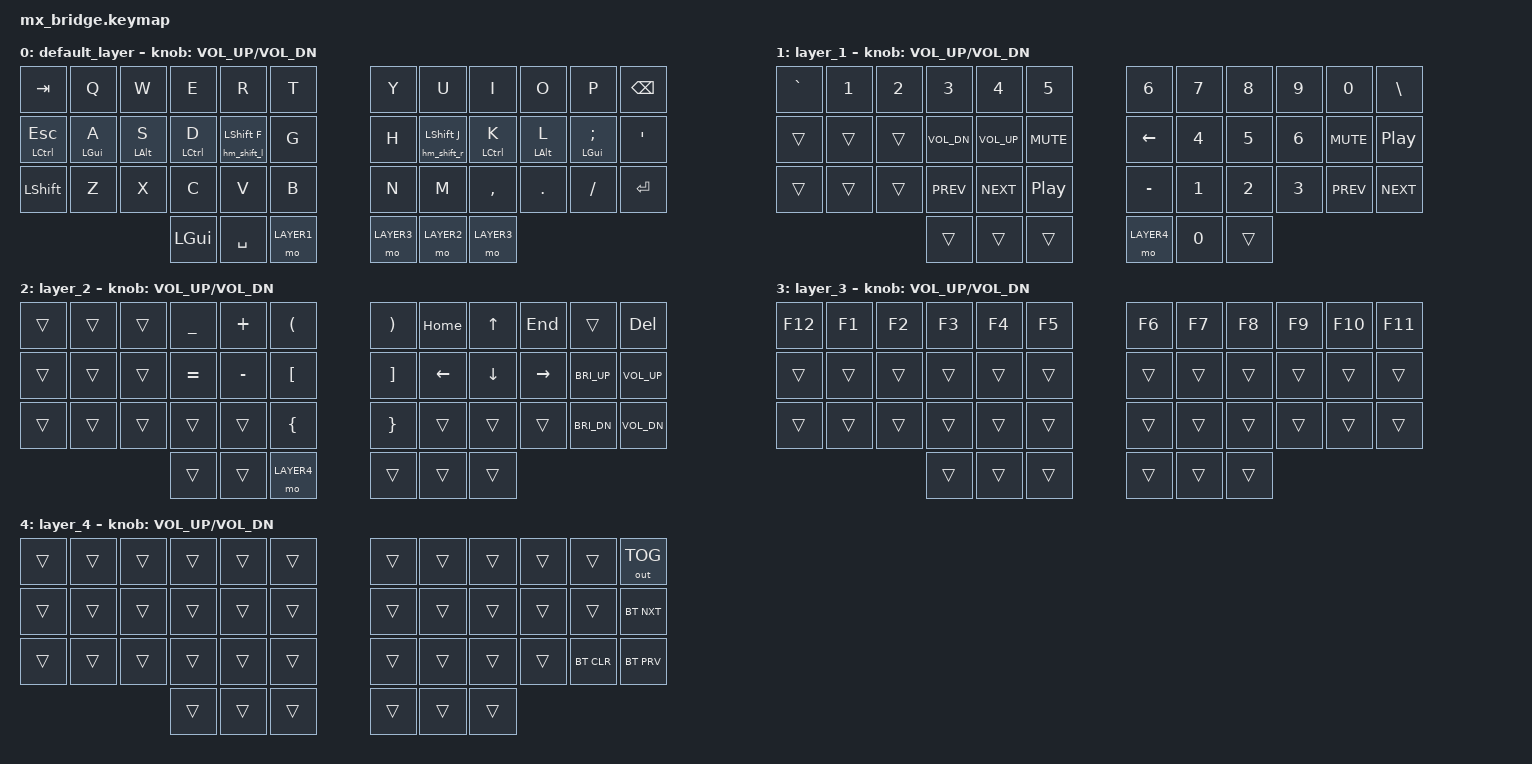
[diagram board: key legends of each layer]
#include <behaviors.dtsi>
#include <dt-bindings/zmk/bt.h>
#include <dt-bindings/zmk/keys.h>
#include <dt-bindings/zmk/outputs.h>

#include "includes/behaviors_homerow_mods.dtsi"

#define DEFAULT     0
#define LAYER1      1
#define LAYER2      2
#define LAYER3      3
#define LAYER4      4

#define COMBO_TIMEOUT       20
#define COMBO_PRIOR_IDLE    75

/ {
    behaviors {
        td_mt: tap_dance_mod_tap {
            compatible = "zmk,behavior-tap-dance";
            #binding-cells = <0>;
            tapping-term-ms = <100>;
            bindings = <&kp LGUI>, <&kp LALT>;
        };

        s_shft: smart_shift {
            compatible = "zmk,behavior-mod-morph";
            #binding-cells = <0>;
            bindings = <&sk LSHFT>, <&caps_word>;
            mods = <(MOD_LSFT)>;
        };
    };

    combos {
        compatible = "zmk,combos";

        combo_grave {
            timeout-ms = <COMBO_TIMEOUT>;
            require-prior-idle-ms = <COMBO_PRIOR_IDLE>;
            key-positions = <0 1>;
            bindings = <&kp GRAVE>;
        };

        combo_exclamation {
            timeout-ms = <COMBO_TIMEOUT>;
            require-prior-idle-ms = <COMBO_PRIOR_IDLE>;
            key-positions = <1 2>;
            bindings = <&kp EXCLAMATION>;
        };

        combo_atsign {
            timeout-ms = <COMBO_TIMEOUT>;
            require-prior-idle-ms = <COMBO_PRIOR_IDLE>;
            key-positions = <2 3>;
            bindings = <&kp AT_SIGN>;
        };

        combo_hash {
            timeout-ms = <COMBO_TIMEOUT>;
            require-prior-idle-ms = <COMBO_PRIOR_IDLE>;
            key-positions = <3 4>;
            bindings = <&kp HASH>;
        };

        combo_dollar {
            timeout-ms = <COMBO_TIMEOUT>;
            require-prior-idle-ms = <COMBO_PRIOR_IDLE>;
            key-positions = <4 5>;
            bindings = <&kp DOLLAR>;
        };

        combo_percent {
            timeout-ms = <COMBO_TIMEOUT>;
            require-prior-idle-ms = <COMBO_PRIOR_IDLE>;
            key-positions = <5 6>;
            bindings = <&kp PERCENT>;
        };

        combo_caret {
            timeout-ms = <COMBO_TIMEOUT>;
            require-prior-idle-ms = <COMBO_PRIOR_IDLE>;
            key-positions = <6 7>;
            bindings = <&kp CARET>;
        };

        combo_ampersand {
            timeout-ms = <COMBO_TIMEOUT>;
            require-prior-idle-ms = <COMBO_PRIOR_IDLE>;
            key-positions = <7 8>;
            bindings = <&kp AMPERSAND>;
        };

        combo_asterisk {
            timeout-ms = <COMBO_TIMEOUT>;
            require-prior-idle-ms = <COMBO_PRIOR_IDLE>;
            key-positions = <8 9>;
            bindings = <&kp ASTERISK>;
        };

        combo_lpar {
            timeout-ms = <COMBO_TIMEOUT>;
            require-prior-idle-ms = <COMBO_PRIOR_IDLE>;
            key-positions = <9 10>;
            bindings = <&kp LEFT_PARENTHESIS>;
        };

        combo_rpar {
            timeout-ms = <COMBO_TIMEOUT>;
            require-prior-idle-ms = <COMBO_PRIOR_IDLE>;
            key-positions = <10 11>;
            bindings = <&kp RIGHT_PARENTHESIS>;
        };

        combo_gui_option {
            timeout-ms = <COMBO_TIMEOUT>;
            require-prior-idle-ms = <COMBO_PRIOR_IDLE>;
            key-positions = <36 37>;
            bindings = <&kp LG(LALT)>;
        };

        combo_ctrl_z {
            timeout-ms = <COMBO_TIMEOUT>;
            require-prior-idle-ms = <COMBO_PRIOR_IDLE>;
            key-positions = <25 26>;
            bindings = <&kp LG(Z)>;
        };

        combo_ctrl_x {
            timeout-ms = <COMBO_TIMEOUT>;
            require-prior-idle-ms = <COMBO_PRIOR_IDLE>;
            key-positions = <26 27>;
            bindings = <&kp LG(X)>;
        };

        combo_ctrl_c {
            timeout-ms = <COMBO_TIMEOUT>;
            require-prior-idle-ms = <COMBO_PRIOR_IDLE>;
            key-positions = <27 28>;
            bindings = <&kp LG(C)>;
        };

        combo_ctrl_v {
            timeout-ms = <COMBO_TIMEOUT>;
            require-prior-idle-ms = <COMBO_PRIOR_IDLE>;
            key-positions = <28 29>;
            bindings = <&kp LG(V)>;
        };

        combo_f1 {
            timeout-ms = <COMBO_TIMEOUT>;
            require-prior-idle-ms = <COMBO_PRIOR_IDLE>;
            key-positions = <14 15>;
            bindings = <&kp F1>;
        };
    };

    keymap {
        compatible = "zmk,keymap";

        default_layer {
            bindings = <
                &kp TAB        &kp Q         &kp W         &kp E            &kp R                &kp T       &kp Y         &kp U               &kp I             &kp O         &kp P            &kp BSPC
                &mt LCTRL ESC  &hm_l LGUI A  &hm_l LALT S  &hm_l LCTRL D    &hm_shift_l LSHFT F  &kp G       &kp H         &hm_shift_r LSHFT J &hm_l LCTRL K     &hm_l LALT L  &hm_l LGUI SEMI  &kp SQT
                &kp LSHFT      &kp Z         &kp X         &kp C            &kp V                &kp B       &kp N         &kp M               &kp COMMA         &kp DOT       &kp FSLH         &kp ENTER
                                                           &kp LGUI         &kp SPACE            &mo LAYER1  &mo LAYER3    &mo LAYER2          &mo LAYER3
            >;

            sensor-bindings = <&inc_dec_kp C_VOL_UP C_VOL_DN>;
        };

        layer_1 {
            bindings = <
                &kp GRAVE  &kp N1    &kp N2     &kp N3        &kp N4        &kp N5              &kp N6     &kp N7      &kp N8     &kp N9    &kp N0      &kp BSLH
                &trans     &trans    &trans     &kp C_VOL_DN  &kp C_VOL_UP  &kp K_MUTE          &kp LEFT   &kp N4      &kp N5     &kp N6    &kp C_MUTE  &kp C_PLAY_PAUSE
                &trans     &trans    &trans     &kp C_PREV    &kp C_NEXT    &kp C_PLAY_PAUSE    &kp MINUS  &kp N1      &kp N2     &kp N3    &kp C_PREV  &kp C_NEXT
                                                &trans        &trans        &trans              &mo LAYER4 &kp N0      &trans
            >;

            sensor-bindings = <&inc_dec_kp C_VOL_UP C_VOL_DN>;
        };

        layer_2 {
            bindings = <
                &trans  &trans  &trans  &kp UNDER    &kp PLUS    &kp LPAR     &kp RPAR   &kp HOME   &kp UP     &kp END       &trans         &kp DEL
                &trans  &trans  &trans  &kp EQUAL    &kp MINUS   &kp LBKT     &kp RBKT   &kp LEFT   &kp DOWN   &kp RIGHT     &kp C_BRI_UP   &kp C_VOL_UP
                &trans  &trans  &trans  &trans       &trans      &kp LBRC     &kp RBRC   &trans     &trans     &trans        &kp C_BRI_DN   &kp C_VOL_DN
                                        &trans       &trans      &mo LAYER4   &trans     &trans     &trans
            >;

            sensor-bindings = <&inc_dec_kp C_VOL_UP C_VOL_DN>;
        };

        layer_3 {
            bindings = <
                &kp F12    &kp F1   &kp F2  &kp F3   &kp F4   &kp F5    &kp F6     &kp F7   &kp F8   &kp F9    &kp F10   &kp F11
                &trans     &trans   &trans  &trans   &trans   &trans    &trans     &trans   &trans   &trans    &trans    &trans
                &trans     &trans   &trans  &trans   &trans   &trans    &trans     &trans   &trans   &trans    &trans    &trans
                                            &trans   &trans   &trans    &trans     &trans   &trans
            >;

            sensor-bindings = <&inc_dec_kp C_VOL_UP C_VOL_DN>;
        };

        layer_4 {
            bindings = <
                &trans     &trans   &trans  &trans   &trans   &trans    &trans     &trans   &trans   &trans    &trans      &out OUT_TOG
                &trans     &trans   &trans  &trans   &trans   &trans    &trans     &trans   &trans   &trans    &trans      &bt BT_NXT
                &trans     &trans   &trans  &trans   &trans   &trans    &trans     &trans   &trans   &trans    &bt BT_CLR  &bt BT_PRV
                                            &trans   &trans   &trans    &trans     &trans   &trans
            >;

            sensor-bindings = <&inc_dec_kp C_VOL_UP C_VOL_DN>;
        };
    };
};
